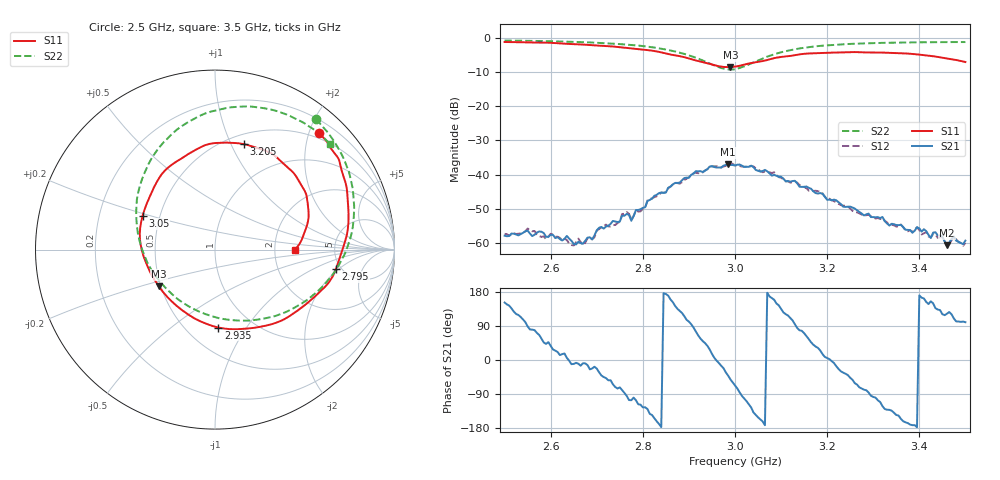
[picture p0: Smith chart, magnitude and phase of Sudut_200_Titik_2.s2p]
# Hz S RI R 50
! CMT, C1220, 16058040, 17.2.0/1
! Date: 15/08/2018 10:50:53
! Data: Format (Calibration Info)
! Freq  S11: Re/Im (F2)  S21: Re/Im (F2)  S12: Re/Im (F2)  S22: Re/Im (F2)
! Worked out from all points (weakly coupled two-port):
!   201 points, 2.5 GHz to 3.5 GHz, reference 50 ohm
!   highest |S21| = -36.95 dB at 2.985 GHz (marker M1); lowest = -60.7 dB at 3.46 GHz (marker M2)
!   lowest |S11| = -8.5 dB at 2.99 GHz (marker M3), VSWR 2.19, Z = 24.4 - j11.6 ohm
!   |S11| at or under -10 dB: nowhere
!   |S22| runs from -9.2 to -0.7 dB; largest |S21 - S12| = 0.001
!   S11 on the Smith chart (normalised r, x): 2.5 GHz: 0.40, +2.17; 2.795 GHz: 4.53, -1.83; 2.935 GHz: 0.70, -0.75; 3.05 GHz: 0.40, +0.19; 3.205 GHz: 0.60, +1.12; 3.5 GHz: 2.60, -0.01
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2.5e9  0.5806 0.6503  -0.00112 0.000607  -0.0012 0.000631  0.5621 0.726
2.55e9  0.6371 0.5768  3.63e-05 0.00151  -0.00013 0.00162  0.618 0.6651
2.67e9  0.737 0.312  0.000965 -0.000144  0.000901 -0.000241  0.7374 0.4561
2.755e9  0.7239 0.0434  0.000467 -0.00246  0.000667 -0.00257  0.7753 0.2296
2.775e9  0.7019 -0.025  -0.000588 -0.00203  -0.000721 -0.0021  0.7718 0.1628
2.795e9  0.6739 -0.1076  -0.00146 -0.00276  -0.00137 -0.00256  0.7613 0.0919
2.835e9  0.5756 -0.2435  -0.00526 -0.00104  -0.005 -0.00115  0.7014 -0.0659
2.935e9  0.0185 -0.4342  0.00814 0.00802  0.00789 0.0084  0.2255 -0.3916
2.985e9  -0.2903 -0.2356  0.0107 -0.00934  0.0112 -0.00892  -0.172 -0.3005
2.99e9  -0.3122 -0.2055  0.00869 -0.0108  0.0093 -0.0112  -0.2089 -0.2751
3e9  -0.3528 -0.1426  0.00527 -0.0125  0.00459 -0.0128  -0.2742 -0.2146
3.05e9  -0.4039 0.1871  -0.00998 -0.00545  -0.0108 -0.00537  -0.438 0.1671
3.1e9  -0.2597 0.4582  -0.00659 0.00658  -0.00609 0.00664  -0.3561 0.5035
3.17e9  0.0263 0.595  0.00434 0.00368  0.00412 0.00403  -0.0923 0.7417
3.205e9  0.1601 0.5874  0.00431 0.000161  0.00444 -7.35e-05  0.0363 0.7833
3.335e9  0.4663 0.3848  -0.00119 -0.00135  -0.00127 -0.00132  0.3902 0.756
3.41e9  0.5212 0.206  -0.00151 0.00048  -0.00131 0.000454  0.5238 0.6867
3.425e9  0.5199 0.1669  -0.00107 0.000502  -0.00108 0.000543  0.5464 0.6723
3.435e9  0.5148 0.1438  -0.00105 0.000981  -0.000941 0.000949  0.5612 0.6599
3.46e9  0.4933 0.0809  -0.000491 0.00078  -0.000429 0.000788  0.5958 0.633
3.475e9  0.4789 0.0465  -0.000418 0.00117  -0.000392 0.00113  0.6135 0.6157
3.5e9  0.4442 -0.000786  -0.000183 0.00107  -9.72e-05 0.000999  0.6432 0.5859
